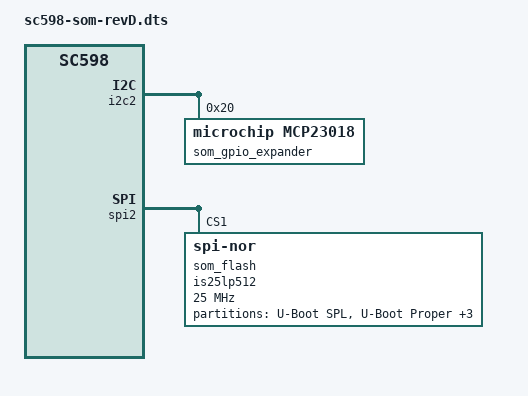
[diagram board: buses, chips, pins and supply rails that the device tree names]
// SPDX-License-Identifier: GPL-2.0
/*
 * Copyright (c) 2025 Analog Devices Incorporated
 * Author: Ozan Durgut <ozan.durgut@analog.com>
 */

/dts-v1/;

#include "sc598-som.dtsi"

&i2c2 {
	som_gpio_expander: mcp23018@20 {
		compatible = "microchip,mcp23018";
		reg = <0x20>;
		gpio-controller;
		#gpio-cells = <2>;
		bootph-pre-ram;
		drive-pullups;

		led-ds1 {
			gpio-hog;
			gpios = <0 GPIO_ACTIVE_HIGH>;
			output-high;
			line-name = "led1-en";
			bootph-pre-ram;
		};

		led-ds2 {
			gpio-hog;
			gpios = <1 GPIO_ACTIVE_HIGH>;
			output-high;
			line-name = "led-ds2";
			bootph-pre-ram;
		};

		led-ds3 {
			gpio-hog;
			gpios = <2 GPIO_ACTIVE_HIGH>;
			output-high;
			line-name = "led-ds3";
			bootph-pre-ram;
		};

		som-flash-d2d3 {
			gpio-hog;
			gpios = <3 GPIO_ACTIVE_LOW>;
			output-high;
			line-name = "som-flash-d2d3-en";
			bootph-pre-ram;
		};

		som-flash-cs {
			gpio-hog;
			gpios = <4 GPIO_ACTIVE_LOW>;
			output-high;
			line-name = "som-flash-cs-en";
			bootph-pre-ram;
		};

		uart0 {
			gpio-hog;
			gpios = <5 GPIO_ACTIVE_LOW>;
			output-high;
			line-name = "uart0-en";
			bootph-pre-ram;
		};

		uart0-flow-en {
			gpio-hog;
			gpios = <6 GPIO_ACTIVE_LOW>;
			output-low;
			line-name = "uart0-flow-en";
			bootph-pre-ram;
		};

		som-emmc {
			gpio-hog;
			gpios = <8 GPIO_ACTIVE_LOW>;
			output-high;
			line-name = "som-emmc-en";
			bootph-pre-ram;
		};

		crr-sdcard {
			gpio-hog;
			gpios = <9 GPIO_ACTIVE_LOW>;
			output-low;
			line-name = "crr-sdcard-en";
			bootph-pre-ram;
		};
	};
};

&spi2 {
	som_flash: is25lp512@1 {
		compatible = "jedec,spi-nor", "is25lp512";
		reg = <1>;
		spi-rx-bus-width = <4>;
		spi-max-frequency = <25000000>;
		bootph-pre-ram;

		partitions {
			compatible = "fixed-partitions";
			#address-cells = <1>;
			#size-cells = <1>;

			qspi_0@0 {
				label = "U-Boot SPL";
				reg = <0x00000000 0x00040000>;
			};

			qspi_1@40000 {
				label = "U-Boot Proper";
				reg = <0x00040000 0x000C0000>;
			};

			qspi_2@100000 {
				label = "U-Boot Environment";
				reg = <0x00100000 0x00020000>;
			};

			qspi_3@120000 {
				label = "FIT Image";
				reg = <0x00120000 0x00600000>;
			};

			qspi_4@720000 {
				label = "JFFS2 Formatted RFS";
				reg = <0x00720000 0x038E0000>;
			};
		};
	};
};
